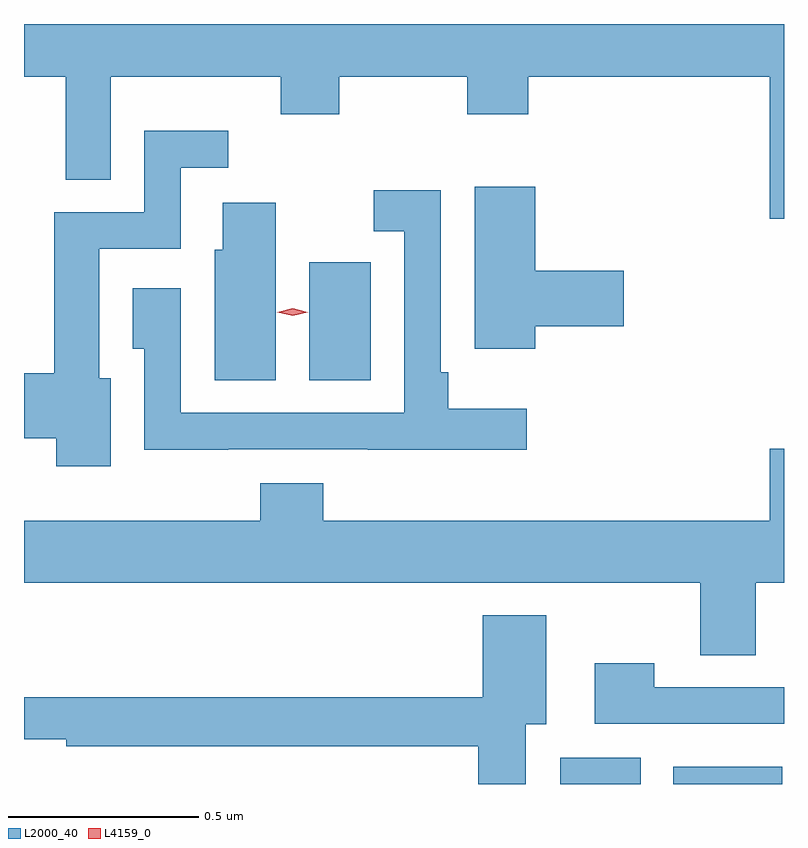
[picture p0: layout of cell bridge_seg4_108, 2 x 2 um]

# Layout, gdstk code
import gdstk
lib = gdstk.Library(unit=1e-6, precision=1e-09)
def R(c, l, rs):  # rectangles x0, y0, x1, y1
    for r in rs: c.add(gdstk.rectangle(r[:2], r[2:], *l))
def P(c, l, *ps):  # polygons
    for p in ps: c.add(gdstk.Polygon(p, *l))
L2000_40 = (2000, 40)
L4159_0 = (4159, 0)

bridge_seg4_108 = lib.new_cell('bridge_seg4_108')
R(bridge_seg4_108, L2000_40, [(536.084,765.655,536.296,765.724), (536.381,765.655,536.668,765.7), (535.424,766.717,535.585,767.028)])
P(bridge_seg4_108, L2000_40, [(534.673,767.516),(534.783,767.516),(534.783,767.245),(534.901,767.245),(534.901,767.516),(535.348,767.516),(535.348,767.417),(535.503,767.417),(535.503,767.516),(535.84,767.516),(535.84,767.417),(536,767.417),(536,767.516),(536.636,767.516),(536.636,767.142),(536.673,767.142),(536.673,767.655),(534.673,767.655)],
  [(534.901,766.723),(534.871,766.723),(534.871,767.064),(535.086,767.064),(535.086,767.277),(535.21,767.277),(535.21,767.374),(534.99,767.374),(534.99,767.16),(534.753,767.16),(534.753,766.736),(534.673,766.736),(534.673,766.565),(534.758,766.565),(534.758,766.491),(534.901,766.491)],
  [(536.018,766.859),(536.251,766.859),(536.251,767.006),(536.018,767.006),(536.018,767.227),(535.859,767.227),(535.859,766.8),(536.018,766.8)],
  [(535.211,766.536),(535.577,766.536),(535.577,766.535),(535.996,766.535),(535.996,766.642),(535.79,766.642),(535.79,766.738),(535.77,766.738),(535.77,767.218),(535.593,767.218),(535.593,767.109),(535.674,767.109),(535.674,766.632),(535.086,766.632),(535.086,766.96),(534.959,766.96),(534.959,766.801),(534.99,766.801),(534.99,766.535),(535.211,766.535)],
  [(535.336,767.185),(535.196,767.185),(535.196,767.061),(535.175,767.061),(535.175,766.717),(535.336,766.717)],
  [(536.599,766.184),(536.673,766.184),(536.673,766.537),(536.636,766.537),(536.636,766.348),(535.46,766.348),(535.46,766.447),(535.295,766.447),(535.295,766.348),(534.673,766.348),(534.673,766.184),(536.452,766.184),(536.452,765.994),(536.599,765.994)],
  [(535.993,765.812),(536.047,765.812),(536.047,766.099),(535.88,766.099),(535.88,765.883),(534.673,765.883),(534.673,765.773),(534.784,765.773),(534.784,765.754),(535.868,765.754),(535.868,765.655),(535.993,765.655)],
  [(536.673,765.909),(536.331,765.909),(536.331,765.973),(536.175,765.973),(536.175,765.813),(536.673,765.813)])
P(bridge_seg4_108, L4159_0, [(535.38,766.887),(535.34,766.897),(535.34,766.897),(535.34,766.897),(535.38,766.907),(535.42,766.897),(535.42,766.897),(535.42,766.897)])

lib.write_gds('bridge_seg4_108.gds')
